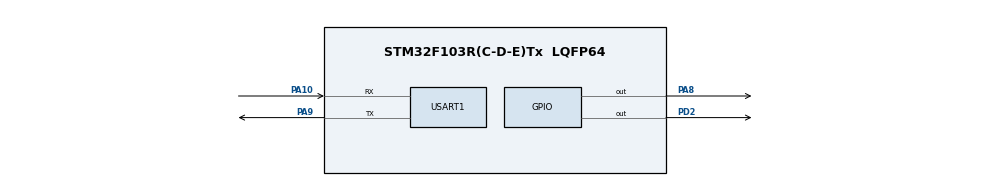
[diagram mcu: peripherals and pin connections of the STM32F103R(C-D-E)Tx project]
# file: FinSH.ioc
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Mcu.Family=STM32F1
Mcu.Name=STM32F103R(C-D-E)Tx
Mcu.Package=LQFP64
NVIC.PriorityGroup=NVIC_PRIORITYGROUP_4
NVIC.USART1_IRQn=true\:0\:0\:false\:false\:true\:true\:true
PA10.Mode=Asynchronous
PA10.Signal=USART1_RX
PA13.Mode=Serial_Wire
PA13.Signal=SYS_JTMS-SWDIO
PA14.Mode=Serial_Wire
PA14.Signal=SYS_JTCK-SWCLK
PA8.Signal=GPIO_Output
PA9.Mode=Asynchronous
PA9.Signal=USART1_TX
PD2.Signal=GPIO_Output
ProjectManager.HeapSize=0x200
ProjectManager.StackSize=0x400
ProjectManager.TargetToolchain=MDK-ARM V5.27
RCC.APB1Freq_Value=8000000
RCC.APB2Freq_Value=8000000
RealThread.RT-Thread.3.1.3.RTAaThreadCcRTOSJjkernel=true
RealThread.RT-Thread.3.1.3.RTAaThreadCcRTOSJjshell=true
USART1.VirtualMode=VM_ASYNC
VP_RealThread.RT-Thread_VS_RTOSJjRTAaThread_3.1.3.Mode=RTOSJjRTAaThread
board=custom

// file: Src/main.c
/* USER CODE BEGIN Header */
/**
  ******************************************************************************
  * @file           : main.c
  * @brief          : Main program body
  ******************************************************************************
  * @attention
  *
  * <h2><center>&copy; Copyright (c) 2020 STMicroelectronics.
  * All rights reserved.</center></h2>
  *
  * This software component is licensed by ST under Ultimate Liberty license
  * SLA0044, the "License"; You may not use this file except in compliance with
  * the License. You may obtain a copy of the License at:
  *                             www.st.com/SLA0044
  *
  ******************************************************************************
  */
/* USER CODE END Header */

#include "main.h"
#include "usart.h"
#include "gpio.h"

/* USER CODE BEGIN Includes */
#include <rtthread.h>
static struct rt_thread led1_thread;
static struct rt_thread led2_thread;       //定义线程控制块
ALIGN(RT_ALIGN_SIZE)
static rt_uint8_t led1_thread_stack[256];
static rt_uint8_t led2_thread_stack[256];  //定义线程栈
void led1_thread_entry(void *parameter);
void led2_thread_entry(void *parameter);
/* USER CODE END Includes */

/* USER CODE BEGIN PTD */

rt_uint8_t  flag1;
rt_uint8_t  flag2;

/* USER CODE END PTD */

void SystemClock_Config(void);

int main(void)
{
  /* USER CODE BEGIN 1 */
//	char ch;
//	rt_uint8_t count;

//    rt_pin_mode(LED_PIN, PIN_MODE_OUTPUT);

//    for(count = 0 ; count < 10 ;count++)
//    {
//        rt_pin_write(LED_PIN, PIN_HIGH);
//        rt_kprintf("led on, count : %d\r\n", count);
//        rt_thread_mdelay(500);

//        rt_pin_write(LED_PIN, PIN_LOW);
//        rt_kprintf("led off\r\n");
//        rt_thread_mdelay(500);
//    }
//    return 0;
//}
//MSH_CMD_EXPORT(led, RT-Thread first led sample);

  /* USER CODE END 1 */

  /* MCU Configuration--------------------------------------------------------*/

  /* Reset of all peripherals, Initializes the Flash interface and the Systick. */
  HAL_Init();

  /* Configure the system clock */
  SystemClock_Config();

  /* Initialize all configured peripherals */
  MX_GPIO_Init();
  MX_USART1_UART_Init();
  /* USER CODE BEGIN 2 */

//    rt_err_t led1;
   rt_thread_init(&led1_thread,
				  "led1",
				  led1_thread_entry,
				  RT_NULL,
				  &led1_thread_stack[0],
				  sizeof(led1_thread_stack),
				  3,
				  20);

//  if(led1 == RT_EOK)
//  {
	  rt_thread_startup(&led1_thread);
//  }

	rt_thread_init(&led2_thread,
				  "led2",
				  led2_thread_entry,
				  RT_NULL,
				  &led2_thread_stack[0],
				  sizeof(led2_thread_stack),
				  4,
				  100);
		rt_thread_startup(&led2_thread);

  /* USER CODE END 2 */

  /* Infinite loop */
  /* USER CODE BEGIN WHILE */
//  while (1)
//  {
//    /* USER CODE END WHILE */
//	  rt_kprintf("hello world");
////	  HAL_Delay(100);
////	  ch = getchar();
//    /* USER CODE BEGIN 3 */
//  }

  /* USER CODE END 3 */
}

void SystemClock_Config(void)
{
  RCC_OscInitTypeDef RCC_OscInitStruct = {0};
  RCC_ClkInitTypeDef RCC_ClkInitStruct = {0};

  /** Initializes the CPU, AHB and APB busses clocks
  */
  RCC_OscInitStruct.OscillatorType = RCC_OSCILLATORTYPE_HSI;
  RCC_OscInitStruct.HSIState = RCC_HSI_ON;
  RCC_OscInitStruct.HSICalibrationValue = RCC_HSICALIBRATION_DEFAULT;
  RCC_OscInitStruct.PLL.PLLState = RCC_PLL_NONE;
  if (HAL_RCC_OscConfig(&RCC_OscInitStruct) != HAL_OK)
  {
    Error_Handler();
  }
  /** Initializes the CPU, AHB and APB busses clocks
  */
  RCC_ClkInitStruct.ClockType = RCC_CLOCKTYPE_HCLK|RCC_CLOCKTYPE_SYSCLK
                              |RCC_CLOCKTYPE_PCLK1|RCC_CLOCKTYPE_PCLK2;
  RCC_ClkInitStruct.SYSCLKSource = RCC_SYSCLKSOURCE_HSI;
  RCC_ClkInitStruct.AHBCLKDivider = RCC_SYSCLK_DIV1;
  RCC_ClkInitStruct.APB1CLKDivider = RCC_HCLK_DIV1;
  RCC_ClkInitStruct.APB2CLKDivider = RCC_HCLK_DIV1;

  if (HAL_RCC_ClockConfig(&RCC_ClkInitStruct, FLASH_LATENCY_0) != HAL_OK)
  {
    Error_Handler();
  }
}

//INIT_BOARD_EXPORT(MX_USART1_UART_Init);

/* USER CODE BEGIN 4 */

static void led1_thread_entry(void *parameter)
{
	while(1)
	{
		LED1_ON;
		flag1 = 1;
		rt_kprintf("led1 on\n");
//		HAL_GPIO_WritePin(GPIOA,GPIO_PIN_8,GPIO_PIN_RESET);
		rt_thread_mdelay(1000);
		LED1_OFF;
		flag1 = 0;
		rt_kprintf("led1 off\n");
//		HAL_GPIO_WritePin(GPIOA,GPIO_PIN_8,GPIO_PIN_SET);
		rt_thread_mdelay(1000);
	}
}

static void led2_thread_entry(void *parameter)
{
	while(1)
	{
		LED2(ON);
		flag2 = 1;
		rt_kprintf("led2 on\n");
		rt_thread_mdelay(500);
		LED2(OFF);
		flag2 = 0;
		rt_kprintf("led2 off\n");
		rt_thread_mdelay(500);
	}
}

/* USER CODE END 4 */

void Error_Handler(void)
{
}

/************************ (C) COPYRIGHT STMicroelectronics *****END OF FILE****/
